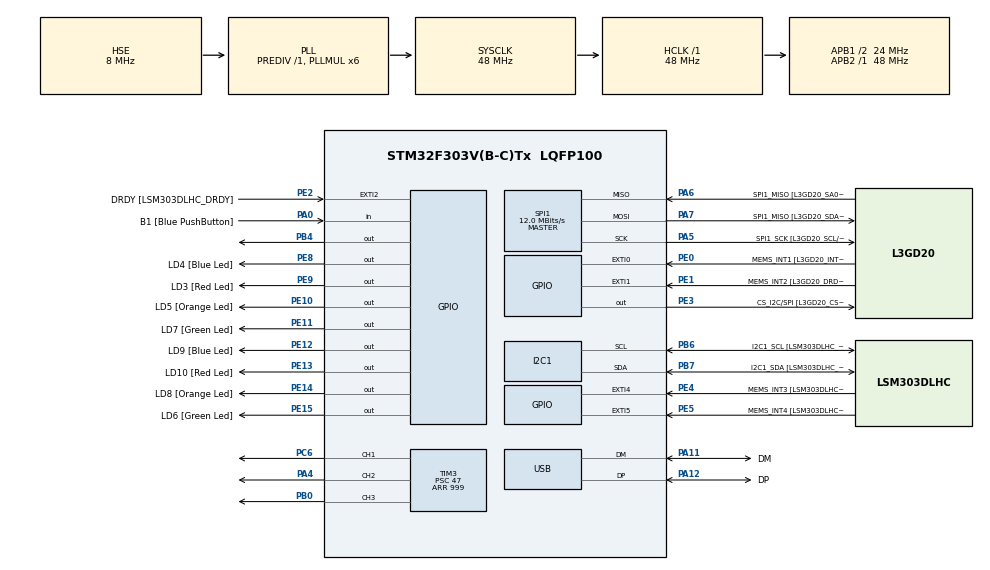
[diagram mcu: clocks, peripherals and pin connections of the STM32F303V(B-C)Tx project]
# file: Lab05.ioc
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I2C1.Timing=0x00201D2B
I2C1.Timing-I2C=0x2000090E
Mcu.Family=STM32F3
Mcu.Name=STM32F303V(B-C)Tx
Mcu.Package=LQFP100
NVIC.PriorityGroup=NVIC_PRIORITYGROUP_0
NVIC.TIM3_IRQn=true\:0\:0\:false\:false\:true\:true\:true\:true
PA0.GPIO_Label=B1 [Blue PushButton]
PA0.Signal=GPIO_Input
PA11.GPIO_Label=DM
PA11.Mode=Device
PA11.Signal=USB_DM
PA12.GPIO_Label=DP
PA12.Mode=Device
PA12.Signal=USB_DP
PA13.GPIO_Label=SWDIO
PA13.Mode=Serial_Wire
PA13.Signal=SYS_JTMS-SWDIO
PA14.GPIO_Label=SWCLK
PA14.Mode=Serial_Wire
PA14.Signal=SYS_JTCK-SWCLK
PA4.Signal=S_TIM3_CH2
PA5.GPIO_Label=SPI1_SCK [L3GD20_SCL/SPC]
PA5.Mode=Full_Duplex_Master
PA5.Signal=SPI1_SCK
PA6.GPIO_Label=SPI1_MISO [L3GD20_SA0/SDO]
PA6.Mode=Full_Duplex_Master
PA6.Signal=SPI1_MISO
PA7.GPIO_Label=SPI1_MISO [L3GD20_SDA/SDI/SDO]
PA7.Mode=Full_Duplex_Master
PA7.Signal=SPI1_MOSI
PB0.Signal=S_TIM3_CH3
PB3.GPIO_Label=SWO
PB3.Signal=SYS_JTDO-TRACESWO
PB4.Signal=GPIO_Output
PB6.GPIO_Label=I2C1_SCL [LSM303DLHC_SCL]
PB6.GPIO_Pu=GPIO_PULLUP
PB6.Mode=I2C
PB6.Signal=I2C1_SCL
PB7.GPIO_Label=I2C1_SDA [LSM303DLHC_SDA]
PB7.GPIO_Pu=GPIO_PULLUP
PB7.Mode=I2C
PB7.Signal=I2C1_SDA
PC14-OSC32_IN.GPIO_Label=OSC32_IN
PC14-OSC32_IN.Signal=RCC_OSC32_IN
PC15-OSC32_OUT.GPIO_Label=OSC32_OUT
PC15-OSC32_OUT.Signal=RCC_OSC32_OUT
PC6.Signal=S_TIM3_CH1
PE0.GPIO_Label=MEMS_INT1 [L3GD20_INT1]
PE0.GPIO_ModeDefaultEXTI=GPIO_MODE_EVT_RISING
PE0.Signal=GPXTI0
PE1.GPIO_Label=MEMS_INT2 [L3GD20_DRDY/INT2]
PE1.GPIO_ModeDefaultEXTI=GPIO_MODE_EVT_RISING
PE1.Signal=GPXTI1
PE10.GPIO_Label=LD5 [Orange Led]
PE10.Signal=GPIO_Output
PE11.GPIO_Label=LD7 [Green Led]
PE11.Signal=GPIO_Output
PE12.GPIO_Label=LD9 [Blue Led]
PE12.Signal=GPIO_Output
PE13.GPIO_Label=LD10 [Red Led]
PE13.Signal=GPIO_Output
PE14.GPIO_Label=LD8 [Orange Led]
PE14.Signal=GPIO_Output
PE15.GPIO_Label=LD6 [Green Led]
PE15.Signal=GPIO_Output
PE2.GPIO_Label=DRDY [LSM303DLHC_DRDY]
PE2.GPIO_ModeDefaultEXTI=GPIO_MODE_EVT_RISING
PE2.Signal=GPXTI2
PE3.GPIO_Label=CS_I2C/SPI [L3GD20_CS_I2C/SPI]
PE3.Signal=GPIO_Output
PE4.GPIO_Label=MEMS_INT3 [LSM303DLHC_INT1]
PE4.GPIO_ModeDefaultEXTI=GPIO_MODE_EVT_RISING
PE4.Signal=GPXTI4
PE5.GPIO_Label=MEMS_INT4 [LSM303DLHC_INT2]
PE5.GPIO_ModeDefaultEXTI=GPIO_MODE_EVT_RISING
PE5.Signal=GPXTI5
PE8.GPIO_Label=LD4 [Blue Led]
PE8.Signal=GPIO_Output
PE9.GPIO_Label=LD3 [Red Led]
PE9.Signal=GPIO_Output
PF0-OSC_IN.GPIO_Label=OSC_IN
PF0-OSC_IN.Mode=HSE-External-Clock-Source
PF0-OSC_IN.Signal=RCC_OSC_IN
PF1-OSC_OUT.GPIO_Label=OSC_OUT
PF1-OSC_OUT.Signal=RCC_OSC_OUT
ProjectManager.HeapSize=0x200
ProjectManager.StackSize=0x400
ProjectManager.TargetToolchain=CMake
RCC.AHBFreq_Value=48000000
RCC.APB1CLKDivider=RCC_HCLK_DIV2
RCC.APB1Freq_Value=24000000
RCC.APB1TimFreq_Value=48000000
RCC.APB2Freq_Value=48000000
RCC.APB2TimFreq_Value=48000000
RCC.CortexFreq_Value=48000000
RCC.HCLKFreq_Value=48000000
RCC.HSE_VALUE=8000000
RCC.HSI_VALUE=8000000
RCC.LSE_VALUE=32768
RCC.PLLMUL=RCC_PLL_MUL6
RCC.SYSCLKFreq_VALUE=48000000
RCC.SYSCLKSourceVirtual=RCC_SYSCLKSOURCE_PLLCLK
RCC.USBFreq_Value=48000000
SH.S_TIM3_CH1.0=TIM3_CH1,PWM Generation1 CH1
SH.S_TIM3_CH2.0=TIM3_CH2,PWM Generation2 CH2
SH.S_TIM3_CH3.0=TIM3_CH3,PWM Generation3 CH3
SPI1.BaudRatePrescaler=SPI_BAUDRATEPRESCALER_4
SPI1.BaudRatePrescaler-Full_Duplex_Master=SPI_BAUDRATEPRESCALER_2
SPI1.CalculateBaudRate=12.0 MBits/s
SPI1.CalculateBaudRate-Full_Duplex_Master=24.0 MBits/s
SPI1.Direction=SPI_DIRECTION_2LINES
SPI1.Mode=SPI_MODE_MASTER
SPI1.Mode-Full_Duplex_Master=SPI_MODE_MASTER
SPI1.VirtualType=VM_MASTER
TIM3.Channel-PWM\ Generation1\ CH1=TIM_CHANNEL_1
TIM3.Channel-PWM\ Generation2\ CH2=TIM_CHANNEL_2
TIM3.Channel-PWM\ Generation3\ CH3=TIM_CHANNEL_3
TIM3.Period=999
TIM3.Prescaler=47
board=STM32F3DISCOVERY

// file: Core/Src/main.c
/* USER CODE BEGIN Header */
/**
  ******************************************************************************
  * @file           : main.c
  * @brief          : Main program body
  ******************************************************************************
  * @attention
  *
  * Copyright (c) 2026 STMicroelectronics.
  * All rights reserved.
  *
  * This software is licensed under terms that can be found in the LICENSE file
  * in the root directory of this software component.
  * If no LICENSE file comes with this software, it is provided AS-IS.
  *
  ******************************************************************************
  */
/* USER CODE END Header */
#include "main.h"

I2C_HandleTypeDef hi2c1;

SPI_HandleTypeDef hspi1;

TIM_HandleTypeDef htim3;

PCD_HandleTypeDef hpcd_USB_FS;

void SystemClock_Config(void);
static void MX_GPIO_Init(void);
static void MX_I2C1_Init(void);
static void MX_SPI1_Init(void);
static void MX_TIM3_Init(void);
static void MX_USB_PCD_Init(void);

int main(void)
{

  /* MCU Configuration--------------------------------------------------------*/

  /* Reset of all peripherals, Initializes the Flash interface and the Systick. */
  HAL_Init();

  /* Configure the system clock */
  SystemClock_Config();

  /* Initialize all configured peripherals */
  MX_GPIO_Init();
  MX_I2C1_Init();
  MX_SPI1_Init();
  MX_TIM3_Init();
  MX_USB_PCD_Init();
  /* USER CODE BEGIN 2 */

  // Start PWM for both motors
  HAL_TIM_PWM_Start(&htim3, TIM_CHANNEL_1); // Right Motor PWM
  HAL_TIM_PWM_Start(&htim3, TIM_CHANNEL_2); // Left Motor PWM

  // Initialize motors stopped
  __HAL_TIM_SET_COMPARE(&htim3, TIM_CHANNEL_1, 0);
  __HAL_TIM_SET_COMPARE(&htim3, TIM_CHANNEL_2, 0);

  /* USER CODE END 2 */

  /* Infinite loop */
  while (1)
  {

    /* USER CODE BEGIN 3 */

    // ===== Move Forward =====
    // Right Motor: DIR1=HIGH, DIR2=LOW, PWM=150
    HAL_GPIO_WritePin(GPIOE, GPIO_PIN_8, GPIO_PIN_SET);    // D8 (DIR1) = HIGH
    HAL_GPIO_WritePin(GPIOE, GPIO_PIN_12, GPIO_PIN_RESET); // D12 (DIR2) = LOW
    __HAL_TIM_SET_COMPARE(&htim3, TIM_CHANNEL_1, 150);     // Speed

    // Left Motor: DIR1=HIGH, DIR2=LOW, PWM=150
    HAL_GPIO_WritePin(GPIOE, GPIO_PIN_7, GPIO_PIN_SET);    // D7 (DIR1) = HIGH
    HAL_GPIO_WritePin(GPIOE, GPIO_PIN_6, GPIO_PIN_RESET);  // D6 (DIR2) = LOW
    __HAL_TIM_SET_COMPARE(&htim3, TIM_CHANNEL_2, 150);     // Speed

    HAL_Delay(3000); // Forward for 3 seconds

    // ===== Stop =====
    // Right Motor: DIR1=HIGH, DIR2=HIGH
    HAL_GPIO_WritePin(GPIOE, GPIO_PIN_8, GPIO_PIN_SET);    // D8 = HIGH
    HAL_GPIO_WritePin(GPIOE, GPIO_PIN_12, GPIO_PIN_SET);   // D12 = HIGH
    __HAL_TIM_SET_COMPARE(&htim3, TIM_CHANNEL_1, 0);

    // Left Motor: DIR1=HIGH, DIR2=HIGH
    HAL_GPIO_WritePin(GPIOE, GPIO_PIN_7, GPIO_PIN_SET);    // D7 = HIGH
    HAL_GPIO_WritePin(GPIOE, GPIO_PIN_6, GPIO_PIN_SET);    // D6 = HIGH
    __HAL_TIM_SET_COMPARE(&htim3, TIM_CHANNEL_2, 0);

    HAL_Delay(1000); // Stop for 1 second

    // ===== Move Backward =====
    // Right Motor: DIR1=LOW, DIR2=HIGH, PWM=150
    HAL_GPIO_WritePin(GPIOE, GPIO_PIN_8, GPIO_PIN_RESET);  // D8 = LOW
    HAL_GPIO_WritePin(GPIOE, GPIO_PIN_12, GPIO_PIN_SET);   // D12 = HIGH
    __HAL_TIM_SET_COMPARE(&htim3, TIM_CHANNEL_1, 150);

    // Left Motor: DIR1=LOW, DIR2=HIGH, PWM=150
    HAL_GPIO_WritePin(GPIOE, GPIO_PIN_7, GPIO_PIN_RESET);  // D7 = LOW
    HAL_GPIO_WritePin(GPIOE, GPIO_PIN_6, GPIO_PIN_SET);    // D6 = HIGH
    __HAL_TIM_SET_COMPARE(&htim3, TIM_CHANNEL_2, 150);

    HAL_Delay(3000); // Backward for 3 seconds

    // ===== Stop =====
    HAL_GPIO_WritePin(GPIOE, GPIO_PIN_8, GPIO_PIN_SET);
    HAL_GPIO_WritePin(GPIOE, GPIO_PIN_12, GPIO_PIN_SET);
    __HAL_TIM_SET_COMPARE(&htim3, TIM_CHANNEL_1, 0);

    HAL_GPIO_WritePin(GPIOE, GPIO_PIN_7, GPIO_PIN_SET);
    HAL_GPIO_WritePin(GPIOE, GPIO_PIN_6, GPIO_PIN_SET);
    __HAL_TIM_SET_COMPARE(&htim3, TIM_CHANNEL_2, 0);

    HAL_Delay(2000);
  }
  /* USER CODE END 3 */
}

void SystemClock_Config(void)
{
  RCC_OscInitTypeDef RCC_OscInitStruct = {0};
  RCC_ClkInitTypeDef RCC_ClkInitStruct = {0};
  RCC_PeriphCLKInitTypeDef PeriphClkInit = {0};

  /** Initializes the RCC Oscillators according to the specified parameters
  * in the RCC_OscInitTypeDef structure.
  */
  RCC_OscInitStruct.OscillatorType = RCC_OSCILLATORTYPE_HSI|RCC_OSCILLATORTYPE_HSE;
  RCC_OscInitStruct.HSEState = RCC_HSE_BYPASS;
  RCC_OscInitStruct.HSEPredivValue = RCC_HSE_PREDIV_DIV1;
  RCC_OscInitStruct.HSIState = RCC_HSI_ON;
  RCC_OscInitStruct.HSICalibrationValue = RCC_HSICALIBRATION_DEFAULT;
  RCC_OscInitStruct.PLL.PLLState = RCC_PLL_ON;
  RCC_OscInitStruct.PLL.PLLSource = RCC_PLLSOURCE_HSE;
  RCC_OscInitStruct.PLL.PLLMUL = RCC_PLL_MUL6;
  if (HAL_RCC_OscConfig(&RCC_OscInitStruct) != HAL_OK)
  {
    Error_Handler();
  }

  /** Initializes the CPU, AHB and APB buses clocks
  */
  RCC_ClkInitStruct.ClockType = RCC_CLOCKTYPE_HCLK|RCC_CLOCKTYPE_SYSCLK
                              |RCC_CLOCKTYPE_PCLK1|RCC_CLOCKTYPE_PCLK2;
  RCC_ClkInitStruct.SYSCLKSource = RCC_SYSCLKSOURCE_PLLCLK;
  RCC_ClkInitStruct.AHBCLKDivider = RCC_SYSCLK_DIV1;
  RCC_ClkInitStruct.APB1CLKDivider = RCC_HCLK_DIV2;
  RCC_ClkInitStruct.APB2CLKDivider = RCC_HCLK_DIV1;

  if (HAL_RCC_ClockConfig(&RCC_ClkInitStruct, FLASH_LATENCY_1) != HAL_OK)
  {
    Error_Handler();
  }
  PeriphClkInit.PeriphClockSelection = RCC_PERIPHCLK_USB|RCC_PERIPHCLK_I2C1;
  PeriphClkInit.I2c1ClockSelection = RCC_I2C1CLKSOURCE_HSI;
  PeriphClkInit.USBClockSelection = RCC_USBCLKSOURCE_PLL;
  if (HAL_RCCEx_PeriphCLKConfig(&PeriphClkInit) != HAL_OK)
  {
    Error_Handler();
  }
}

static void MX_I2C1_Init(void)
{

  hi2c1.Instance = I2C1;
  hi2c1.Init.Timing = 0x00201D2B;
  hi2c1.Init.OwnAddress1 = 0;
  hi2c1.Init.AddressingMode = I2C_ADDRESSINGMODE_7BIT;
  hi2c1.Init.DualAddressMode = I2C_DUALADDRESS_DISABLE;
  hi2c1.Init.OwnAddress2 = 0;
  hi2c1.Init.OwnAddress2Masks = I2C_OA2_NOMASK;
  hi2c1.Init.GeneralCallMode = I2C_GENERALCALL_DISABLE;
  hi2c1.Init.NoStretchMode = I2C_NOSTRETCH_DISABLE;
  if (HAL_I2C_Init(&hi2c1) != HAL_OK)
  {
    Error_Handler();
  }

  /** Configure Analogue filter
  */
  if (HAL_I2CEx_ConfigAnalogFilter(&hi2c1, I2C_ANALOGFILTER_ENABLE) != HAL_OK)
  {
    Error_Handler();
  }

  /** Configure Digital filter
  */
  if (HAL_I2CEx_ConfigDigitalFilter(&hi2c1, 0) != HAL_OK)
  {
    Error_Handler();
  }

}

static void MX_SPI1_Init(void)
{

  /* SPI1 parameter configuration*/
  hspi1.Instance = SPI1;
  hspi1.Init.Mode = SPI_MODE_MASTER;
  hspi1.Init.Direction = SPI_DIRECTION_2LINES;
  hspi1.Init.DataSize = SPI_DATASIZE_4BIT;
  hspi1.Init.CLKPolarity = SPI_POLARITY_LOW;
  hspi1.Init.CLKPhase = SPI_PHASE_1EDGE;
  hspi1.Init.NSS = SPI_NSS_SOFT;
  hspi1.Init.BaudRatePrescaler = SPI_BAUDRATEPRESCALER_4;
  hspi1.Init.FirstBit = SPI_FIRSTBIT_MSB;
  hspi1.Init.TIMode = SPI_TIMODE_DISABLE;
  hspi1.Init.CRCCalculation = SPI_CRCCALCULATION_DISABLE;
  hspi1.Init.CRCPolynomial = 7;
  hspi1.Init.CRCLength = SPI_CRC_LENGTH_DATASIZE;
  hspi1.Init.NSSPMode = SPI_NSS_PULSE_ENABLE;
  if (HAL_SPI_Init(&hspi1) != HAL_OK)
  {
    Error_Handler();
  }

}

static void MX_TIM3_Init(void)
{

  TIM_MasterConfigTypeDef sMasterConfig = {0};
  TIM_OC_InitTypeDef sConfigOC = {0};

  htim3.Instance = TIM3;
  htim3.Init.Prescaler = 47;
  htim3.Init.CounterMode = TIM_COUNTERMODE_UP;
  htim3.Init.Period = 999;
  htim3.Init.ClockDivision = TIM_CLOCKDIVISION_DIV1;
  htim3.Init.AutoReloadPreload = TIM_AUTORELOAD_PRELOAD_DISABLE;
  if (HAL_TIM_PWM_Init(&htim3) != HAL_OK)
  {
    Error_Handler();
  }
  sMasterConfig.MasterOutputTrigger = TIM_TRGO_RESET;
  sMasterConfig.MasterSlaveMode = TIM_MASTERSLAVEMODE_DISABLE;
  if (HAL_TIMEx_MasterConfigSynchronization(&htim3, &sMasterConfig) != HAL_OK)
  {
    Error_Handler();
  }
  sConfigOC.OCMode = TIM_OCMODE_PWM1;
  sConfigOC.Pulse = 0;
  sConfigOC.OCPolarity = TIM_OCPOLARITY_HIGH;
  sConfigOC.OCFastMode = TIM_OCFAST_DISABLE;
  if (HAL_TIM_PWM_ConfigChannel(&htim3, &sConfigOC, TIM_CHANNEL_1) != HAL_OK)
  {
    Error_Handler();
  }
  if (HAL_TIM_PWM_ConfigChannel(&htim3, &sConfigOC, TIM_CHANNEL_2) != HAL_OK)
  {
    Error_Handler();
  }
  if (HAL_TIM_PWM_ConfigChannel(&htim3, &sConfigOC, TIM_CHANNEL_3) != HAL_OK)
  {
    Error_Handler();
  }
  HAL_TIM_MspPostInit(&htim3);

}

static void MX_USB_PCD_Init(void)
{

  hpcd_USB_FS.Instance = USB;
  hpcd_USB_FS.Init.dev_endpoints = 8;
  hpcd_USB_FS.Init.speed = PCD_SPEED_FULL;
  hpcd_USB_FS.Init.phy_itface = PCD_PHY_EMBEDDED;
  hpcd_USB_FS.Init.low_power_enable = DISABLE;
  hpcd_USB_FS.Init.battery_charging_enable = DISABLE;
  if (HAL_PCD_Init(&hpcd_USB_FS) != HAL_OK)
  {
    Error_Handler();
  }

}

static void MX_GPIO_Init(void)
{
  GPIO_InitTypeDef GPIO_InitStruct = {0};

  /* GPIO Ports Clock Enable */
  __HAL_RCC_GPIOE_CLK_ENABLE();
  __HAL_RCC_GPIOC_CLK_ENABLE();
  __HAL_RCC_GPIOF_CLK_ENABLE();
  __HAL_RCC_GPIOA_CLK_ENABLE();
  __HAL_RCC_GPIOB_CLK_ENABLE();

  /*Configure GPIO pin Output Level */
  HAL_GPIO_WritePin(GPIOE, CS_I2C_SPI_Pin|LD4_Pin|LD3_Pin|LD5_Pin
                          |LD7_Pin|LD9_Pin|LD10_Pin|LD8_Pin
                          |LD6_Pin, GPIO_PIN_RESET);

  /*Configure GPIO pin Output Level */
  HAL_GPIO_WritePin(GPIOB, GPIO_PIN_4, GPIO_PIN_RESET);

  /*Configure GPIO pins : DRDY_Pin MEMS_INT3_Pin MEMS_INT4_Pin MEMS_INT1_Pin
                           MEMS_INT2_Pin */
  GPIO_InitStruct.Pin = DRDY_Pin|MEMS_INT3_Pin|MEMS_INT4_Pin|MEMS_INT1_Pin
                          |MEMS_INT2_Pin;
  GPIO_InitStruct.Mode = GPIO_MODE_EVT_RISING;
  GPIO_InitStruct.Pull = GPIO_NOPULL;
  HAL_GPIO_Init(GPIOE, &GPIO_InitStruct);

  /*Configure GPIO pins : CS_I2C_SPI_Pin LD4_Pin LD3_Pin LD5_Pin
                           LD7_Pin LD9_Pin LD10_Pin LD8_Pin
                           LD6_Pin */
  GPIO_InitStruct.Pin = CS_I2C_SPI_Pin|LD4_Pin|LD3_Pin|LD5_Pin
                          |LD7_Pin|LD9_Pin|LD10_Pin|LD8_Pin
                          |LD6_Pin;
  GPIO_InitStruct.Mode = GPIO_MODE_OUTPUT_PP;
  GPIO_InitStruct.Pull = GPIO_NOPULL;
  GPIO_InitStruct.Speed = GPIO_SPEED_FREQ_LOW;
  HAL_GPIO_Init(GPIOE, &GPIO_InitStruct);

  /*Configure GPIO pin : B1_Pin */
  GPIO_InitStruct.Pin = B1_Pin;
  GPIO_InitStruct.Mode = GPIO_MODE_INPUT;
  GPIO_InitStruct.Pull = GPIO_NOPULL;
  HAL_GPIO_Init(B1_GPIO_Port, &GPIO_InitStruct);

  /*Configure GPIO pin : PB4 */
  GPIO_InitStruct.Pin = GPIO_PIN_4;
  GPIO_InitStruct.Mode = GPIO_MODE_OUTPUT_PP;
  GPIO_InitStruct.Pull = GPIO_NOPULL;
  GPIO_InitStruct.Speed = GPIO_SPEED_FREQ_LOW;
  HAL_GPIO_Init(GPIOB, &GPIO_InitStruct);

}

void Error_Handler(void)
{
  __disable_irq();
  while (1)
  {
  }
}
